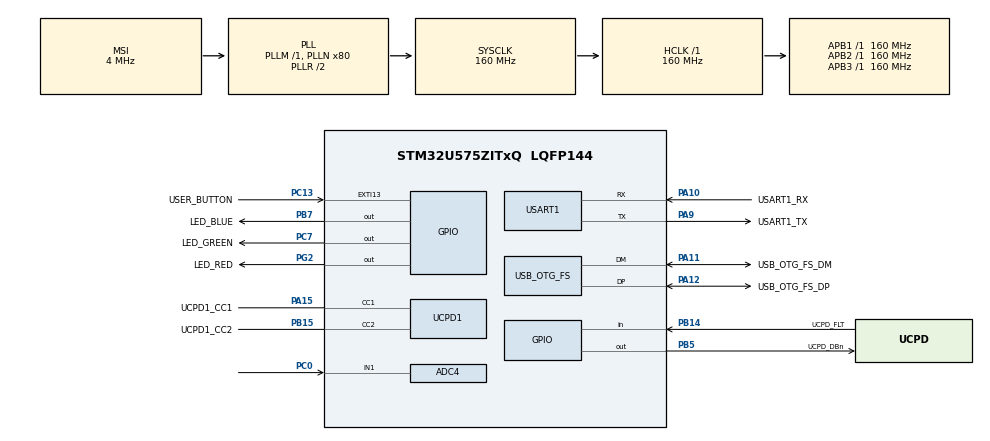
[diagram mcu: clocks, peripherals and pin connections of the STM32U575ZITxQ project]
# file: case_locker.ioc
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ADC4.Channel-1\#ChannelRegularConversion=ADC_CHANNEL_1
ADC4.ClockPrescaler=ADC_CLOCK_ASYNC_DIV2
ADC4.ContinuousConvMode=ENABLE
ADC4.EnableRegularConversion=ENABLE
ADC4.NbrOfConversion=1
ADC4.NbrOfConversionFlag=1
ADC4.OffsetNumber-1\#ChannelRegularConversion=ADC_OFFSET_NONE
ADC4.Rank-1\#ChannelRegularConversion=1
ADC4.RankArg-1\#ChannelRegularConversion=ADC4_REGULAR_RANK_1
ADC4.Resolution=ADC_RESOLUTION_6B
ADC4.SamplingTime-1\#ChannelRegularConversion=ADC4_SAMPLINGTIME_COMMON_1
ADC4.SelectedChannel=ADC_CHANNEL_1
CORTEX_M33_NS.userName=CORTEX_M33
Mcu.Family=STM32U5
Mcu.Name=STM32U575ZITxQ
Mcu.Package=LQFP144
NVIC.OTG_FS_IRQn=true\:0\:0\:false\:false\:true\:true\:true\:true
NVIC.PriorityGroup=NVIC_PRIORITYGROUP_3
PA10.GPIO_Label=USART1_RX
PA10.GPIO_PuPd=GPIO_PULLDOWN
PA10.GPIO_Speed=GPIO_SPEED_FREQ_VERY_HIGH
PA10.Mode=Asynchronous
PA10.Signal=USART1_RX
PA11.GPIO_Label=USB_OTG_FS_DM
PA11.GPIO_Speed=GPIO_SPEED_FREQ_VERY_HIGH
PA11.Mode=Device_Only
PA11.Signal=USB_OTG_FS_DM
PA12.GPIO_Label=USB_OTG_FS_DP
PA12.GPIO_Speed=GPIO_SPEED_FREQ_VERY_HIGH
PA12.Mode=Device_Only
PA12.Signal=USB_OTG_FS_DP
PA13\ (JTMS/SWDIO).Mode=Trace_Asynchronous_SW
PA13\ (JTMS/SWDIO).Signal=DEBUG_JTMS-SWDIO
PA14\ (JTCK/SWCLK).Mode=Trace_Asynchronous_SW
PA14\ (JTCK/SWCLK).Signal=DEBUG_JTCK-SWCLK
PA15\ (JTDI).GPIO_Label=UCPD1_CC1
PA15\ (JTDI).Mode=Sink_AllSignals
PA15\ (JTDI).Signal=UCPD1_CC1
PA9.GPIO_Label=USART1_TX
PA9.GPIO_PuPd=GPIO_PULLDOWN
PA9.GPIO_Speed=GPIO_SPEED_FREQ_VERY_HIGH
PA9.Mode=Asynchronous
PA9.Signal=USART1_TX
PB14.GPIO_Label=UCPD_FLT
PB14.Signal=GPIO_Input
PB15.GPIO_Label=UCPD1_CC2
PB15.Mode=Sink_AllSignals
PB15.Signal=UCPD1_CC2
PB3\ (JTDO/TRACESWO).Mode=Trace_Asynchronous_SW
PB3\ (JTDO/TRACESWO).Signal=DEBUG_JTDO-SWO
PB5.GPIO_Label=UCPD_DBn
PB5.Signal=GPIO_Output
PB7.GPIO_Label=LED_BLUE
PB7.GPIO_ModeDefaultOutputPP=GPIO_MODE_OUTPUT_PP
PB7.GPIO_PuPd=GPIO_PULLUP
PB7.GPIO_Speed=GPIO_SPEED_FREQ_HIGH
PB7.Signal=GPIO_Output
PC0.Mode=IN1
PC0.Signal=ADC4_IN1
PC13.GPIO_Label=USER_BUTTON
PC13.GPIO_ModeDefaultEXTI=GPIO_MODE_IT_FALLING
PC13.Signal=GPXTI13
PC14-OSC32_IN\ (PC14).Signal=RCC_OSC32_IN
PC15-OSC32_OUT\ (PC15).Signal=RCC_OSC32_OUT
PC7.GPIO_Label=LED_GREEN
PC7.GPIO_PuPd=GPIO_PULLUP
PC7.GPIO_Speed=GPIO_SPEED_FREQ_HIGH
PC7.Signal=GPIO_Output
PG2.GPIO_Label=LED_RED
PG2.GPIO_ModeDefaultOutputPP=GPIO_MODE_OUTPUT_PP
PG2.GPIO_PuPd=GPIO_PULLUP
PG2.GPIO_Speed=GPIO_SPEED_FREQ_HIGH
PG2.Signal=GPIO_Output
PH0-OSC_IN\ (PH0).Mode=HSE-External-Oscillator
PH0-OSC_IN\ (PH0).Signal=RCC_OSC_IN
PH1-OSC_OUT\ (PH1).Mode=HSE-External-Oscillator
PH1-OSC_OUT\ (PH1).Signal=RCC_OSC_OUT
PWR.PowerMode=PWR_SMPS_SUPPLY
ProjectManager.HeapSize=0x200
ProjectManager.StackSize=0x400
ProjectManager.TargetToolchain=STM32CubeIDE
RCC.ADCFreq_Value=16000000
RCC.AHBFreq_Value=160000000
RCC.APB1Freq_Value=160000000
RCC.APB1TimFreq_Value=160000000
RCC.APB2Freq_Value=160000000
RCC.APB2TimFreq_Value=160000000
RCC.APB3Freq_Value=160000000
RCC.CortexFreq_Value=160000000
RCC.DACCLockSelectionVirtual=RCC_DAC1CLKSOURCE_LSI
RCC.DACCLockSelectionVirtualString=RCC_DAC1CLKSOURCE_LSI
RCC.EPOD_VALUE=4000000
RCC.HCLKFreq_Value=160000000
RCC.HSE_VALUE=16000000
RCC.HSI48_VALUE=48000000
RCC.HSI_VALUE=16000000
RCC.LSE_VALUE=32768
RCC.LSIDIV_VALUE=32000
RCC.MSI_VALUE=4000000
RCC.PLLN=80
RCC.SYSCLKFreq_VALUE=160000000
RCC.SYSCLKSource=RCC_SYSCLKSOURCE_PLLCLK
RCC.USBFreq_Value=48000000
RCC.VCOOutputFreq_Value=320000000
USART1.VirtualMode-Asynchronous=VM_ASYNC
USB_OTG_FS.VirtualMode=Device_Only
VP_LPBAMQUEUE_VS_QUEUE.Mode=QUEUEMODE
VP_LPBAM_VS_SIG1.Mode=SmartRun
VP_LPBAM_VS_SIG4.Mode=LPDMA1
VP_PWR_VS_DBSignals.Mode=DisableDeadBatterySignals
VP_PWR_VS_LPOM.Mode=PowerOptimisation
VP_PWR_VS_SECSignals.Mode=Security/Privilege
board=NUCLEO-U575ZI-Q

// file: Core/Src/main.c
/* USER CODE BEGIN Header */
/**
  ******************************************************************************
  * @file           : main.c
  * @brief          : Main program body
  ******************************************************************************
  * @attention
  *
  * Copyright (c) 2023 STMicroelectronics.
  * All rights reserved.
  *
  * This software is licensed under terms that can be found in the LICENSE file
  * in the root directory of this software component.
  * If no LICENSE file comes with this software, it is provided AS-IS.
  *
  ******************************************************************************
  */
/* USER CODE END Header */
#include "main.h"
#include "adc.h"
#include "ucpd.h"
#include "usart.h"
#include "usb_otg.h"
#include "gpio.h"

/* USER CODE BEGIN Includes */
#include "stdio.h"
#include "string.h"
/* USER CODE END Includes */

void SystemClock_Config(void);
static void SystemPower_Config(void);
/* USER CODE BEGIN PFP */

// led functions
void red_led(void);
void green_led(void);
void all_leds(void);

_Bool read_button(void);

uint16_t read_ADC();
/* USER CODE END PFP */

int main(void)
{
  /* USER CODE BEGIN 1 */
	_Bool written = 0;

	uint16_t adc_value;
	uint16_t password;
	char string_adc_value[8];

	uint16_t case_status=2;
	uint16_t status=2;
  /* USER CODE END 1 */

  /* MCU Configuration--------------------------------------------------------*/

  /* Reset of all peripherals, Initializes the Flash interface and the Systick. */
  HAL_Init();

  /* Configure the system clock */
  SystemClock_Config();

  /* Configure the System Power */
  SystemPower_Config();

  /* Initialize all configured peripherals */
  MX_GPIO_Init();
  MX_UCPD1_Init();
  MX_USART1_UART_Init();
  MX_USB_OTG_FS_PCD_Init();
  MX_ADC4_Init();
  /* USER CODE BEGIN 2 */

  HAL_Delay(10);
  HAL_PWREx_EnableVddA();
  HAL_ADC_Start(&hadc4);

  /* USER CODE END 2 */

  /* Infinite loop */
  while (1)
  {

    /* USER CODE BEGIN 3 */

	  HAL_Delay(10);

	  adc_value = read_ADC();

	  switch(status){
	  	  case 0:	// SET A PASSWORD PHASE

	  		  all_leds(); 	// all leds are open

	  		// send message on UART for one time
	  		  if(!written){

	  			  char msg []= "\r\n Set: \r\n";
				  HAL_UART_Transmit(&huart1,(uint8_t *)&msg, sizeof(msg), 0xFFFF);

				  written = 1; 	// set written flag
	  		  }

	  		  if(read_button()){	// if the button pressed

				  // send ADC VALUE on UART
				  sprintf(string_adc_value, "\r\n %hu \r\n", adc_value);
				  HAL_Delay(10);
				  HAL_UART_Transmit(&huart1,(uint8_t *)&string_adc_value, sizeof(string_adc_value), 0xFFFF);
				  HAL_Delay(1000);

				  // send message on UART
				  char msg []= "\r\n Case is locked.. \r\n";
				  HAL_UART_Transmit(&huart1,(uint8_t *)&msg, sizeof(msg), 0xFFFF);

				  // ADJUST VARIABLES
				  password = adc_value;	// set adc value as password
				  written = 0;			// clear written flag

				  // GO TO THE NEXT PHASE
				  status = 1;
				  case_status = 1;
	  		  }

			  HAL_Delay(10);
			  break;

	  	  case 1:	// LOCKED PHASE

	  		  red_led(); 	// red led is on, other leds are off

	  		  // send message on UART for one time
			  if(!written){

				  char msg []= "\r\n Enter a password: \r\n";
				  HAL_UART_Transmit(&huart1,(uint8_t *)&msg, sizeof(msg), 0xFFFF);

				  written = 1;	// set written flag
			  }

			  if(read_button()){	// if the button pressed

				  // send ADC VALUE on UART
				  sprintf(string_adc_value, "\r\n %hu \r\n", adc_value);
				  HAL_Delay(10);
				  HAL_UART_Transmit(&huart1,(uint8_t *)&string_adc_value, sizeof(string_adc_value), 0xFFFF);
				  HAL_Delay(10);

				  // CHECK PASSWORD IS TRUE OR NOT
				  if(password == adc_value){	// if password is true

					  // SEND PASSWORD IS TRUE FEEDBACK ON UART
					  char msg []= "\r\n The case is open. \r\n";
					  HAL_UART_Transmit(&huart1,(uint8_t *)&msg, sizeof(msg), 0xFFFF);

					  written = 0;	// clear written flag

					  // GO TO THE NEXT PHASE
					  status = 2;
					  case_status = 2;
				  }
				  else							// if password is false
					  {

					  // SEND PASSWORD IS FALSE FEEDBACK ON UART
					  char msg []= "\r\n Wrong! Try again... \r\n";
					  HAL_UART_Transmit(&huart1,(uint8_t *)&msg, sizeof(msg), 0xFFFF);
					  }

				  HAL_Delay(1000);
			  }

			  HAL_Delay(10);
			  break;

	  	  case 2:	// OPEN PHASE

	  		  green_led();	// green led is on, other leds are off

	  		  // send message on UART for one time
	  		  if(!written){

	  			  char msg []= "\r\n Press the button to set password to the case. \r\n";
	  			  HAL_UART_Transmit(&huart1,(uint8_t *)&msg, sizeof(msg), 0xFFFF);

	  			  written = 1;	// set written flag
	  		  }

	  		  if(read_button()){				// if the button pressed

	  			  written = 0;	// clear written flag

	  			  // GO TO THE NEXT PHASE
	  			  status = 0;
	  			  case_status = 0;

	  			  HAL_Delay(1000);
			 	}

	  		  HAL_Delay(10);
			  break;

	  	  default :
	  		  // PHASE STABILIZER
	  		  if(case_status==0) status=0;
	  		  else if(case_status==1) status=1;
	  		  else if(case_status==2) status=2;
	  		  break;
	  }
  }
  /* USER CODE END 3 */
}

void SystemClock_Config(void)
{
  RCC_OscInitTypeDef RCC_OscInitStruct = {0};
  RCC_ClkInitTypeDef RCC_ClkInitStruct = {0};

  /** Configure the main internal regulator output voltage
  */
  if (HAL_PWREx_ControlVoltageScaling(PWR_REGULATOR_VOLTAGE_SCALE1) != HAL_OK)
  {
    Error_Handler();
  }

  /** Initializes the CPU, AHB and APB buses clocks
  */
  RCC_OscInitStruct.OscillatorType = RCC_OSCILLATORTYPE_HSI48|RCC_OSCILLATORTYPE_HSI
                              |RCC_OSCILLATORTYPE_MSI;
  RCC_OscInitStruct.HSIState = RCC_HSI_ON;
  RCC_OscInitStruct.HSI48State = RCC_HSI48_ON;
  RCC_OscInitStruct.HSICalibrationValue = RCC_HSICALIBRATION_DEFAULT;
  RCC_OscInitStruct.MSIState = RCC_MSI_ON;
  RCC_OscInitStruct.MSICalibrationValue = RCC_MSICALIBRATION_DEFAULT;
  RCC_OscInitStruct.MSIClockRange = RCC_MSIRANGE_4;
  RCC_OscInitStruct.PLL.PLLState = RCC_PLL_ON;
  RCC_OscInitStruct.PLL.PLLSource = RCC_PLLSOURCE_MSI;
  RCC_OscInitStruct.PLL.PLLMBOOST = RCC_PLLMBOOST_DIV1;
  RCC_OscInitStruct.PLL.PLLM = 1;
  RCC_OscInitStruct.PLL.PLLN = 80;
  RCC_OscInitStruct.PLL.PLLP = 2;
  RCC_OscInitStruct.PLL.PLLQ = 2;
  RCC_OscInitStruct.PLL.PLLR = 2;
  RCC_OscInitStruct.PLL.PLLRGE = RCC_PLLVCIRANGE_0;
  RCC_OscInitStruct.PLL.PLLFRACN = 0;
  if (HAL_RCC_OscConfig(&RCC_OscInitStruct) != HAL_OK)
  {
    Error_Handler();
  }

  /** Initializes the CPU, AHB and APB buses clocks
  */
  RCC_ClkInitStruct.ClockType = RCC_CLOCKTYPE_HCLK|RCC_CLOCKTYPE_SYSCLK
                              |RCC_CLOCKTYPE_PCLK1|RCC_CLOCKTYPE_PCLK2
                              |RCC_CLOCKTYPE_PCLK3;
  RCC_ClkInitStruct.SYSCLKSource = RCC_SYSCLKSOURCE_PLLCLK;
  RCC_ClkInitStruct.AHBCLKDivider = RCC_SYSCLK_DIV1;
  RCC_ClkInitStruct.APB1CLKDivider = RCC_HCLK_DIV1;
  RCC_ClkInitStruct.APB2CLKDivider = RCC_HCLK_DIV1;
  RCC_ClkInitStruct.APB3CLKDivider = RCC_HCLK_DIV1;

  if (HAL_RCC_ClockConfig(&RCC_ClkInitStruct, FLASH_LATENCY_4) != HAL_OK)
  {
    Error_Handler();
  }
}

/**
  * @brief Power Configuration
  * @retval None
  */
static void SystemPower_Config(void)
{
  HAL_PWREx_EnableVddIO2();

  /*
   * Switch to SMPS regulator instead of LDO
   */
  if (HAL_PWREx_ConfigSupply(PWR_SMPS_SUPPLY) != HAL_OK)
  {
    Error_Handler();
  }
}

/* USER CODE BEGIN 4 */

void red_led() // this function drives only red led
{
	HAL_GPIO_WritePin(LED_RED_GPIO_Port,LED_RED_Pin,GPIO_PIN_SET);
	HAL_GPIO_WritePin(LED_GREEN_GPIO_Port,LED_GREEN_Pin,GPIO_PIN_RESET);
	HAL_GPIO_WritePin(LED_BLUE_GPIO_Port,LED_BLUE_Pin,GPIO_PIN_RESET);
	}

void green_led() // this function drives only green led
{
	HAL_GPIO_WritePin(LED_RED_GPIO_Port,LED_RED_Pin,GPIO_PIN_RESET);
	HAL_GPIO_WritePin(LED_GREEN_GPIO_Port,LED_GREEN_Pin,GPIO_PIN_SET);
	HAL_GPIO_WritePin(LED_BLUE_GPIO_Port,LED_BLUE_Pin,GPIO_PIN_RESET);
	}

void all_leds() // this function drives all leds
{
	HAL_GPIO_WritePin(LED_RED_GPIO_Port,LED_RED_Pin,GPIO_PIN_SET);
	HAL_GPIO_WritePin(LED_GREEN_GPIO_Port,LED_GREEN_Pin,GPIO_PIN_SET);
	HAL_GPIO_WritePin(LED_BLUE_GPIO_Port,LED_BLUE_Pin,GPIO_PIN_SET);
	}

_Bool read_button()	// this function reads user button
{
	return HAL_GPIO_ReadPin(USER_BUTTON_GPIO_Port,USER_BUTTON_Pin);
	}

uint16_t read_ADC()	// this function reads ADC value
{
	HAL_ADC_PollForConversion(&hadc4, 1000);
	return HAL_ADC_GetValue(&hadc4);
	}
/* USER CODE END 4 */

void Error_Handler(void)
{
  __disable_irq();
  while (1)
  {
  }
}
